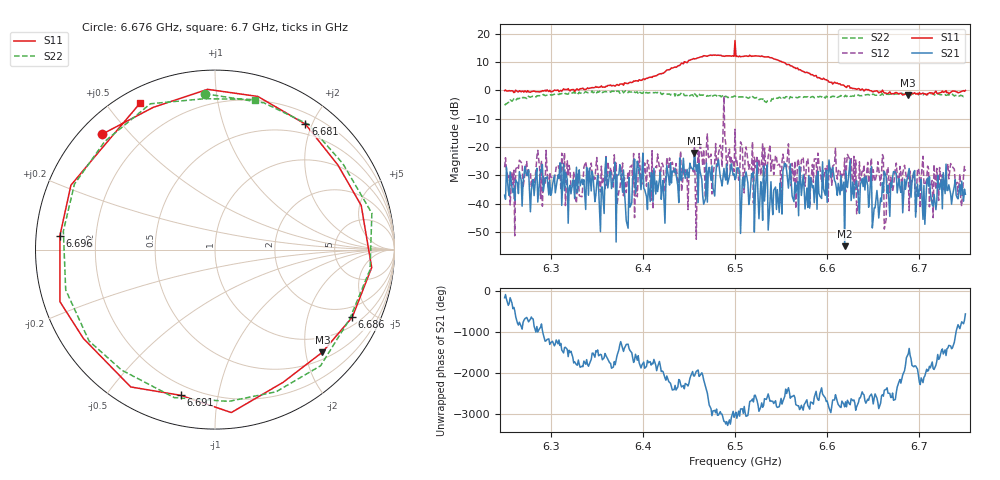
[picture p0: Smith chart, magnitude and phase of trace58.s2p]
# Hz S RI R 50
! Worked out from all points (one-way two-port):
!   401 points, 6.25 GHz to 6.75 GHz, reference 50 ohm
!   highest |S21| = -22.07 dB at 6.456 GHz (marker M1); lowest = -55.0 dB at 6.619 GHz (marker M2)
!   lowest |S11| = -1.6 dB at 6.688 GHz (marker M3), VSWR 10.59, Z = 32.4 - j117 ohm
!   |S11| at or under -10 dB: nowhere
!   |S22| runs from -5.2 to -0.1 dB; largest |S21 - S12| = 0.83
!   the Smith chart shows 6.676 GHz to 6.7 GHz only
!   S11 on the Smith chart (normalised r, x): 6.676 GHz: 0.06, +0.42; 6.681 GHz: 0.35, +1.90; 6.686 GHz: 1.39, -3.82; 6.691 GHz: 0.15, -0.78; 6.696 GHz: 0.07, +0.05; 6.7 GHz: 0.06, +0.61
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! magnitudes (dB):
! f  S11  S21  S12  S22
! 6.25 GHz  -0.1  -37.0  -27.2  -5.2
! 6.259 GHz  -0.2  -36.1  -33.4  -3.4
! 6.266 GHz  -0.1  -28.7  -24.7  -2.7
! 6.334 GHz  0.7  -31.3  -37.5  -0.8
! 6.376 GHz  2.3  -28.3  -31.6  -0.5
! 6.384 GHz  2.4  -48.7  -28.7  -0.8
! 6.394 GHz  3.4  -25.0  -37.6  -0.5
! 6.418 GHz  5.8  -31.6  -27.4  -1.0
! 6.456 GHz  11.2  -22.1  -20.2  -1.1
! 6.486 GHz  12.2  -33.7  -27.1  -2.0
! 6.5 GHz  17.7  -31.5  -13.7  -1.9
! 6.584 GHz  5.6  -34.3  -26.1  -2.1
! 6.619 GHz  1.5  -55.0  -23.9  -2.1
! 6.668 GHz  -0.5  -44.5  -36.1  -1.4
! 6.676 GHz  -0.9  -36.2  -29.8  -1.2
! 6.681 GHz  -1.3  -32.3  -36.3  -0.9
! 6.686 GHz  -1.4  -32.6  -30.8  -1.3
! 6.688 GHz  -1.6  -29.3  -29.8  -1.4
! 6.691 GHz  -1.6  -37.7  -33.3  -1.2
! 6.696 GHz  -1.2  -44.8  -42.9  -1.3
! 6.7 GHz  -0.8  -35.4  -29.4  -1.3
! 6.75 GHz  0.0  -36.7  -28.4  -2.1
